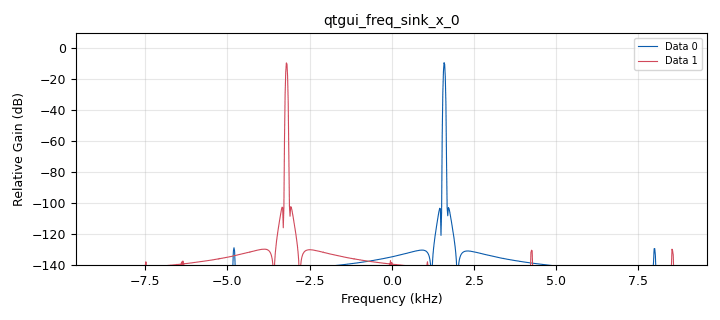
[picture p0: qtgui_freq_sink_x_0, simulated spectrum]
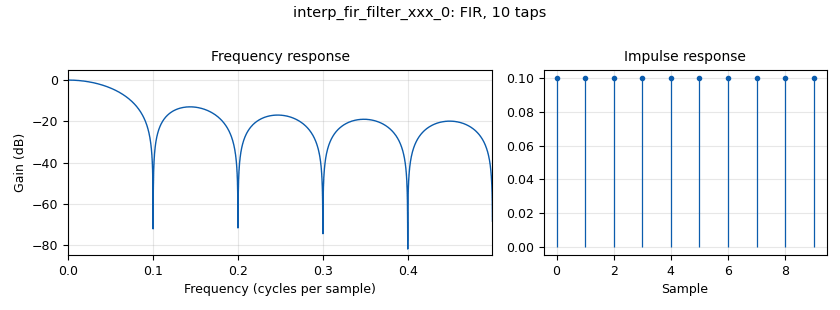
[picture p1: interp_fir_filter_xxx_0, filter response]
options:
  parameters:
    author: p
    generate_options: qt_gui
    id: Week8_lecture39_Pll_test
    output_language: python
    title: Not titled yet
  states: {}

blocks:
- name: delta_f
  id: variable_qtgui_range
  parameters:
    start: '-100'
    step: '0.1'
    stop: '100'
    value: '0'
  states: {}
- name: fc
  id: variable
  parameters:
    value: '40000'
  states: {}
- name: noisestd
  id: variable_qtgui_range
  parameters:
    start: '0'
    step: '0.1'
    stop: '3'
    value: '0'
  states: {}
- name: samp_rate
  id: variable
  parameters:
    value: '19200'
  states: {}
- name: analog_noise_source_x_0
  id: analog_noise_source_x
  parameters:
    amp: noisestd
    noise_type: analog.GR_GAUSSIAN
    seed: '0'
    type: complex
  states: {}
- name: analog_pll_freqdet_cf_0
  id: analog_pll_freqdet_cf
  parameters:
    max_freq: 6.28*(fc+100)/samp_rate
    min_freq: 6.28* (fc-100)/samp_rate
    w: 6.28/100
  states: {}
- name: analog_sig_source_x_0
  id: analog_sig_source_x
  parameters:
    amp: '1'
    freq: fc+ delta_f
    offset: '0'
    phase: '0'
    samp_rate: samp_rate
    type: complex
    waveform: analog.GR_COS_WAVE
  states: {}
- name: blocks_add_xx_0
  id: blocks_add_xx
  parameters:
    type: complex
  states: {}
- name: blocks_throttle2_0
  id: blocks_throttle2
  parameters:
    samples_per_second: samp_rate
    type: complex
  states: {}
- name: blocks_vco_c_0
  id: blocks_vco_c
  parameters:
    amplitude: '1'
    samp_rate: samp_rate
    sensitivity: 6.28*40000/1.30833
  states: {}
- name: interp_fir_filter_xxx_0
  id: interp_fir_filter_xxx
  parameters:
    interp: '1'
    taps: '[0.1]*10'
    type: fff
  states: {}
- name: qtgui_freq_sink_x_0
  id: qtgui_freq_sink_x
  parameters:
    bw: samp_rate
    fc: '0'
    fftsize: '1024'
    nconnections: '2'
    type: complex
  states: {}
- name: qtgui_time_sink_x_0
  id: qtgui_time_sink_x
  parameters:
    name: Frequency detect
    size: '1024'
    srate: samp_rate
    type: float
  states: {}

connections:
- [analog_noise_source_x_0, '0', blocks_add_xx_0, '1']
- [analog_pll_freqdet_cf_0, '0', interp_fir_filter_xxx_0, '0']
- [analog_pll_freqdet_cf_0, '0', qtgui_time_sink_x_0, '0']
- [analog_sig_source_x_0, '0', blocks_throttle2_0, '0']
- [analog_sig_source_x_0, '0', qtgui_freq_sink_x_0, '0']
- [blocks_add_xx_0, '0', analog_pll_freqdet_cf_0, '0']
- [blocks_throttle2_0, '0', blocks_add_xx_0, '0']
- [blocks_vco_c_0, '0', qtgui_freq_sink_x_0, '1']
- [interp_fir_filter_xxx_0, '0', blocks_vco_c_0, '0']

metadata:
  file_format: 1
  grc_version: 3.10.7.0
